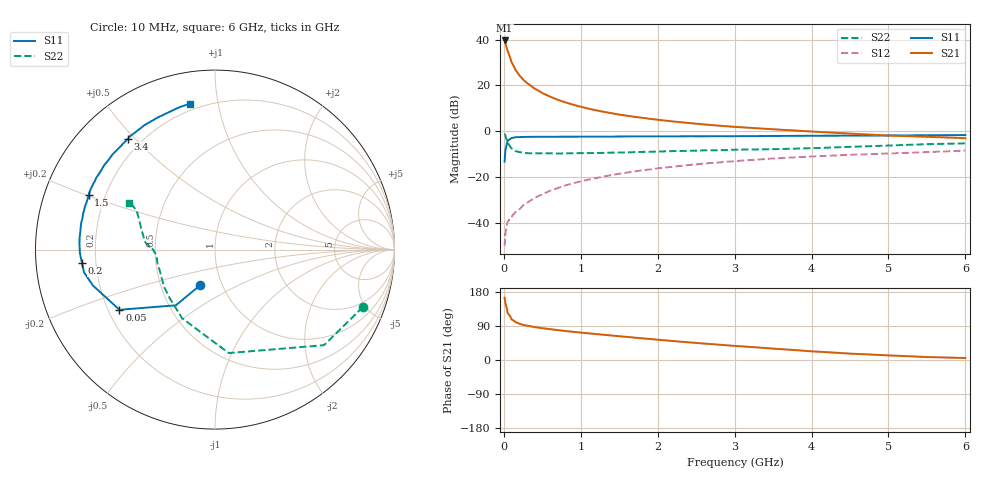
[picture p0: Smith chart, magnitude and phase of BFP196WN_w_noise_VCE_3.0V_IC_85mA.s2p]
! Infineon Technologies  Discrete & RF Semiconductors
! BFP196WN
! VCE =  3.0 V,  IC =  85 mA
! Common Emitter S-Parameters:  Jan 2017
# GHz  S  MA  R  50
!  f  S11  S21  S12  S22
! GHz  MAG  ANG  MAG  ANG  MAG  ANG  MAG  ANG
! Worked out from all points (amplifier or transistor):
!   77 points, 10 MHz to 6 GHz, reference 50 ohm
!   highest |S21| = 39.6 dB at 10 MHz (marker M1)
!   |S21| within 3 dB of that: start of sweep to 35.75 MHz
!   unconditionally stable (mu >= 1): 473.5 MHz to 2.663 GHz
!   at 130 MHz: K = 0.71, MSG = 32.2 dB, |S12| = -36.1 dB
!   at 2.2 GHz: K = 1.02, MAG = 9.0 dB, |S12| = -15.5 dB
!   at 6 GHz: K = 0.93, MSG = 2.7 dB, |S12| = -8.5 dB
!   lowest NFmin = 1.64 dB at 450 MHz
!   S11 on the Smith chart (normalised r, x): 10 MHz: 0.79, -0.33; 50 MHz: 0.25, -0.27; 200 MHz: 0.15, -0.05; 1.5 GHz: 0.14, +0.20; 3.4 GHz: 0.15, +0.48; 6 GHz: 0.16, +0.83
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0.01  0.216 -112.8  95.73 164.4  0.0031 73.4  0.8841 -21.2
0.02  0.3795 -125.1  84.28 149.6  0.0058 68.9  0.8081 -41.2
0.05  0.6292 -147.8  56.14 123.5  0.0105 50.2  0.5814 -82.4
0.1  0.7091 -163.6  31.96 107.2  0.0136 53.4  0.4242 -115.6
0.15  0.7408 -170.2  22.12 100.1  0.017 57.1  0.3693 -133.3
0.2  0.7445 -174.2  16.74 95.9  0.0194 61.5  0.3517 -143.6
0.25  0.7496 -176.8  13.47 92.8  0.024 63.1  0.3399 -150.0
0.3  0.7532 -179.0  11.28 90.6  0.0273 66.0  0.3324 -155.2
0.4  0.7558 177.7  8.511 86.8  0.0349 69.2  0.3289 -161.2
0.5  0.7574 175.2  6.815 83.9  0.0421 70.6  0.3294 -165.4
0.6  0.7567 172.8  5.689 81.3  0.0503 71.0  0.3294 -168.5
0.7  0.7582 170.9  4.872 79.0  0.0574 72.4  0.3276 -170.7
0.8  0.7602 168.7  4.269 76.5  0.0658 72.1  0.3284 -172.2
0.9  0.7588 166.7  3.79 74.4  0.073 71.5  0.3309 -173.6
1.1  0.7616 163.4  3.115 70.4  0.0881 70.7  0.3332 -176.2
1.5  0.7671 156.7  2.309 62.7  0.1179 68.3  0.3424 -179.7
2.1  0.7723 147.3  1.706 51.8  0.1614 63.7  0.3639 177.3
3.1  0.7798 132.4  1.216 35.9  0.2285 54.7  0.3972 172.4
3.4  0.7859 128.1  1.13 31.6  0.2473 52.0  0.4034 170.2
4.1  0.7974 118.2  0.965 21.8  0.286 45.6  0.432 163.2
5.1  0.8095 107.5  0.794 11.3  0.3312 37.8  0.4938 153.3
6  0.8255 99.7  0.706 5.2  0.378 31.8  0.5436 151.2
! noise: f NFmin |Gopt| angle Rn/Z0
0.45  1.64  0.59  -175  0.05
0.9  1.77  0.6  -168  0.07
1.9  2.75  0.7  -146  0.22
2.4  3.53  0.72  -138  0.37
